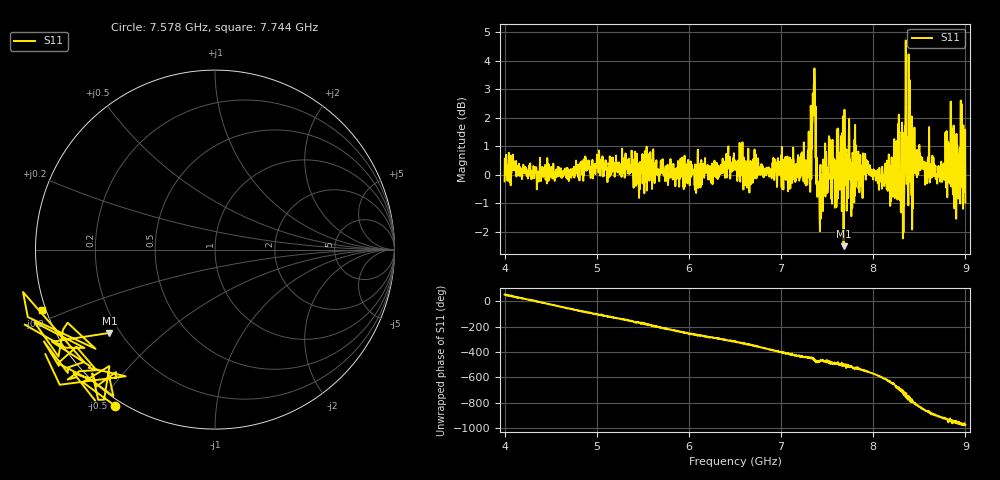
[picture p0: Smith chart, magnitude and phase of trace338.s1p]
! Created with skrf 1.8.0 (http://scikit-rf.org).
# Hz S RI R 50.0
!freq ReS11 ImS11
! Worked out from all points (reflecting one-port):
!   1601 points, 4 GHz to 9 GHz, reference 50 ohm
!   lowest |S11| = -2.5 dB at 7.678 GHz (marker M1), VSWR 6.99, Z = 7.99 - j16.9 ohm
!   phase of S11 starts at 53 deg and turns -1030 deg over the sweep
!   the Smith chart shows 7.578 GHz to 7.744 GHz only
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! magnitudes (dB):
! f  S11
! 4 GHz  -0.2
! 4.625 GHz  -0.1
! 5.25 GHz  0.0
! 5.875 GHz  0.1
! 6.5 GHz  0.3
! 7.125 GHz  0.2
! 7.294 GHz  -0.1
! 7.347 GHz  2.6
! 7.366 GHz  2.7
! 7.409 GHz  -0.5
! 7.512 GHz  0.1
! 7.591 GHz  0.5
! 7.678 GHz  -2.5
! 7.75 GHz  -0.1
! 7.775 GHz  0.8
! 7.822 GHz  -0.2
! 8.197 GHz  0.2
! 8.259 GHz  1.0
! 8.312 GHz  1.8
! 8.334 GHz  -1.1
! 8.347 GHz  0.7
! 8.375 GHz  1.2
! 8.438 GHz  0.1
! 8.562 GHz  -0.3
! 8.834 GHz  1.1
! 8.903 GHz  1.4
! 8.956 GHz  -0.2
! 9 GHz  -1.0
